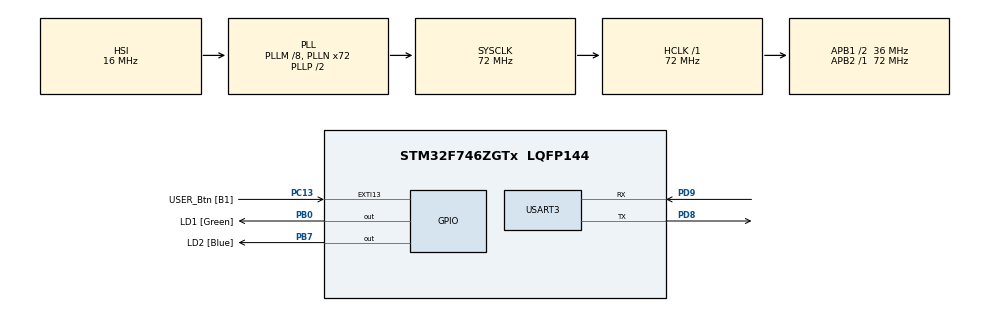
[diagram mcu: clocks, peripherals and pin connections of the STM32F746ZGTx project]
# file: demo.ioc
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CORTEX_M7.default_mode_Activation=1
Dma.Request0=USART3_TX
Dma.Request1=USART3_RX
Dma.USART3_RX.1.Direction=DMA_PERIPH_TO_MEMORY
Dma.USART3_RX.1.FIFOMode=DMA_FIFOMODE_ENABLE
Dma.USART3_RX.1.FIFOThreshold=DMA_FIFO_THRESHOLD_FULL
Dma.USART3_RX.1.Instance=DMA1_Stream1
Dma.USART3_RX.1.MemBurst=DMA_MBURST_SINGLE
Dma.USART3_RX.1.MemDataAlignment=DMA_MDATAALIGN_BYTE
Dma.USART3_RX.1.MemInc=DMA_MINC_ENABLE
Dma.USART3_RX.1.Mode=DMA_NORMAL
Dma.USART3_RX.1.PeriphBurst=DMA_PBURST_SINGLE
Dma.USART3_RX.1.PeriphDataAlignment=DMA_PDATAALIGN_BYTE
Dma.USART3_RX.1.PeriphInc=DMA_PINC_DISABLE
Dma.USART3_RX.1.Priority=DMA_PRIORITY_LOW
Dma.USART3_TX.0.Direction=DMA_MEMORY_TO_PERIPH
Dma.USART3_TX.0.FIFOMode=DMA_FIFOMODE_ENABLE
Dma.USART3_TX.0.FIFOThreshold=DMA_FIFO_THRESHOLD_FULL
Dma.USART3_TX.0.Instance=DMA1_Stream3
Dma.USART3_TX.0.MemBurst=DMA_MBURST_SINGLE
Dma.USART3_TX.0.MemDataAlignment=DMA_MDATAALIGN_BYTE
Dma.USART3_TX.0.MemInc=DMA_MINC_ENABLE
Dma.USART3_TX.0.Mode=DMA_NORMAL
Dma.USART3_TX.0.PeriphBurst=DMA_PBURST_SINGLE
Dma.USART3_TX.0.PeriphDataAlignment=DMA_PDATAALIGN_BYTE
Dma.USART3_TX.0.PeriphInc=DMA_PINC_DISABLE
Dma.USART3_TX.0.Priority=DMA_PRIORITY_LOW
Mcu.Family=STM32F7
Mcu.Name=STM32F746ZGTx
Mcu.Package=LQFP144
NVIC.DMA1_Stream1_IRQn=true\:0\:0\:false\:false\:true\:false\:true\:true
NVIC.DMA1_Stream3_IRQn=true\:0\:0\:false\:false\:true\:false\:true\:true
NVIC.EXTI15_10_IRQn=true\:0\:0\:false\:false\:true\:true\:true\:true
NVIC.PriorityGroup=NVIC_PRIORITYGROUP_4
NVIC.USART3_IRQn=true\:0\:0\:false\:false\:true\:true\:true\:true
PB0.GPIO_Label=LD1 [Green]
PB0.Signal=GPIO_Output
PB7.GPIO_Label=LD2 [Blue]
PB7.Signal=GPIO_Output
PC13.GPIO_Label=USER_Btn [B1]
PC13.Signal=GPXTI13
PC14/OSC32_IN.Mode=LSE-External-Oscillator
PC14/OSC32_IN.Signal=RCC_OSC32_IN
PC15/OSC32_OUT.Mode=LSE-External-Oscillator
PC15/OSC32_OUT.Signal=RCC_OSC32_OUT
PD8.Mode=Asynchronous
PD8.Signal=USART3_TX
PD9.Mode=Asynchronous
PD9.Signal=USART3_RX
ProjectManager.HeapSize=0x200
ProjectManager.StackSize=0x400
ProjectManager.TargetToolchain=STM32CubeIDE
RCC.48MHZClocksFreq_Value=24000000
RCC.AHBFreq_Value=72000000
RCC.APB1CLKDivider=RCC_HCLK_DIV2
RCC.APB1Freq_Value=36000000
RCC.APB1TimFreq_Value=72000000
RCC.APB2Freq_Value=72000000
RCC.APB2TimFreq_Value=72000000
RCC.CortexFreq_Value=72000000
RCC.HCLKFreq_Value=72000000
RCC.HSE_VALUE=8000000
RCC.HSI_VALUE=16000000
RCC.PLLM=8
RCC.PLLMUL=RCC_PLL_MUL9
RCC.PLLN=72
RCC.PLLQ=3
RCC.PRESCALERUSB=RCC_USBCLKSOURCE_PLL_DIV1_5
RCC.SYSCLKFreq_VALUE=72000000
RCC.SYSCLKSource=RCC_SYSCLKSOURCE_PLLCLK
RCC.SYSCLKSourceVirtual=RCC_SYSCLKSOURCE_PLLCLK
RCC.USBFreq_Value=48000000
RCC.VCOOutputFreq_Value=144000000
USART3.VirtualMode-Asynchronous=VM_ASYNC
board=NUCLEO-F746ZG

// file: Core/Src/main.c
/* USER CODE BEGIN Header */
/* USER CODE END Header */
#include "main.h"
#include "dma.h"
#include "usart.h"
#include "gpio.h"

extern DMA_HandleTypeDef hdma_usart3_tx;

/* USER CODE BEGIN PV */

/* Command Buffer - SIMPLIFIED */
#define CMD_BUFFER_SIZE  32
volatile char cmd_buffer[CMD_BUFFER_SIZE];
volatile uint8_t cmd_index = 0;
volatile uint8_t cmd_ready = 0;

/* LED State */
volatile uint8_t led_state = 0;

/* BUTTON DEBOUNCE */
volatile uint32_t last_button_time = 0;
#define BUTTON_DEBOUNCE_DELAY  200

/* USER CODE END PV */

void SystemClock_Config(void);
static void MPU_Config(void);

/* USER CODE BEGIN 0 */

/* UART Receive Interrupt - FIXED & DEBUGGED */
void HAL_UART_RxCpltCallback(UART_HandleTypeDef *huart)
{
  if (huart->Instance == USART3)
  {
    char rx_char = cmd_buffer[cmd_index];

    // **ECHO CHARACTER BACK** - So you can see what you type!
    HAL_UART_Transmit(&huart3, (uint8_t*)&rx_char, 1, 10);

    // Check for Enter key (Carriage Return)
    if (rx_char == '\r')
    {
      cmd_buffer[cmd_index] = '\0';  // Null-terminate string
      cmd_ready = 1;                 // Mark command ready
      Send_String("\r\n");           // New line
    }
    // Backspace handling
    else if (rx_char == '\b' || rx_char == 127)
    {
      if (cmd_index > 0)
      {
        cmd_index--;
        Send_String("\b \b");  // Erase character on screen
      }
    }
    // Normal character
    else if (cmd_index < CMD_BUFFER_SIZE - 1)
    {
      cmd_index++;
    }

    // **RESTART RECEIVE** for next character
    UART_Restart_Receive();
  }
}

/* Button Interrupt */
void HAL_GPIO_EXTI_Callback(uint16_t GPIO_Pin)
{
  if (GPIO_Pin == USER_Btn_Pin)
  {

	  uint32_t current_time = HAL_GetTick();  // Get current time in ms

	  // ** DEBOUNCE LOGIC: Ignore interrupts within 200ms **
	      if (current_time - last_button_time > BUTTON_DEBOUNCE_DELAY)
	      {
	        // Valid button press - process it
	        led_state = !led_state;
	        HAL_GPIO_WritePin(LD1_GPIO_Port, LD1_Pin, led_state);
	        Send_Status();

	        // Update last press time
	        last_button_time = current_time;
	      }

	      // Else: Ignore this interrupt (it's a bounce)

	          // ** CRITICAL: Clear interrupt flag **
	          __HAL_GPIO_EXTI_CLEAR_IT(USER_Btn_Pin);

  }
}

/* DMA TX Transfer Complete Callback */
void HAL_UART_TxCpltCallback(UART_HandleTypeDef *huart)
{
  if (huart->Instance == USART3)
  {
    // Optional: Can add code here to signal TX complete
    // Not needed for this application
  }
}

/* DMA1 Stream3 Interrupt Handler */
void DMA1_Stream3_IRQHandler(void)
{
  HAL_DMA_IRQHandler(&hdma_usart3_tx);
}

/* Send string using DMA (NON-BLOCKING!) */
void Send_String(const char* str)
{
  // Wait if UART is busy with previous DMA transfer
  while (huart3.gState != HAL_UART_STATE_READY);

  // Start DMA transmission - returns immediately!
  HAL_UART_Transmit_DMA(&huart3, (uint8_t*)str, strlen(str));
}

/* Send LED status */
void Send_Status(void)
{
  char status_msg[64];
  sprintf(status_msg, "\r\n[STATUS] LED is %s\r\n> ", led_state ? "ON" : "OFF");
  Send_String(status_msg);
}

/* Restart UART receive */
void UART_Restart_Receive(void)
{
  HAL_UART_Receive_IT(&huart3, (uint8_t*)&cmd_buffer[cmd_index], 1);
}

/* Process command */
void Process_Command(void)
{
  char cmd[32];
  strcpy(cmd, (char*)cmd_buffer);  // Copy command

  // Convert to uppercase
  for(int i = 0; cmd[i]; i++) {
    cmd[i] = toupper(cmd[i]);
  }

  if (strcmp(cmd, "ON") == 0)
  {
    led_state = 1;
    HAL_GPIO_WritePin(LD1_GPIO_Port, LD1_Pin, led_state);
    Send_String("LED turned ON\r\n> ");
  }
  else if (strcmp(cmd, "OFF") == 0)
  {
    led_state = 0;
    HAL_GPIO_WritePin(LD1_GPIO_Port, LD1_Pin, led_state);
    Send_String("LED turned OFF\r\n> ");
  }
  else if (strcmp(cmd, "STATUS") == 0)
  {
    Send_Status();
  }
  else if (strcmp(cmd, "HELP") == 0)
  {
    Send_String("\r\n--- Commands ---\r\n");
    Send_String("ON     : Turn LED ON\r\n");
    Send_String("OFF    : Turn LED OFF\r\n");
    Send_String("STATUS : Show LED status\r\n");
    Send_String("HELP   : Show this help\r\n");
    Send_String("Press USER button to toggle LED\r\n> ");
  }
  else if (strlen(cmd) > 0)
  {
    Send_String("Unknown: ");
    Send_String(cmd);
    Send_String("\r\nType HELP for commands\r\n> ");
  }

  // Reset buffer
  cmd_index = 0;
  cmd_ready = 0;
}

/* USER CODE END 0 */

int main(void)
{

  /* MPU Configuration--------------------------------------------------------*/
  MPU_Config();

  /* MCU Configuration--------------------------------------------------------*/

  /* Reset of all peripherals, Initializes the Flash interface and the Systick. */
  HAL_Init();

  /* Configure the system clock */
  SystemClock_Config();

  /* Initialize all configured peripherals */
  MX_GPIO_Init();
  MX_DMA_Init();
  MX_USART3_UART_Init();
  /* USER CODE BEGIN 2 */

  // ** CRITICAL: Start UART receive interrupt **
  UART_Restart_Receive();

  // Send welcome message
  Send_String("\r\n\r\n========================================\r\n");
  Send_String("  Nucleo-F746ZG Control System\r\n");
  Send_String("========================================\r\n");
  Send_String("Type HELP and press ENTER\r\n> ");
  Send_String("Button debounce: 200ms\r\n");
  Send_String("DMA: Enabled for TX\r\n> ");

  // Flash LED to show system is alive
  HAL_GPIO_WritePin(LD1_GPIO_Port, LD1_Pin, GPIO_PIN_SET);
  HAL_Delay(200);
  HAL_GPIO_WritePin(LD1_GPIO_Port, LD1_Pin, GPIO_PIN_RESET);

  /* USER CODE END 2 */

  /* Infinite loop */
  while (1)
  {
	  // Process UART commands
	      if (cmd_ready)
	      {
	        Process_Command();
	      }

	      // CPU can sleep - DMA handles UART in background!
	      __WFI();
  }
}

void SystemClock_Config(void)
{
  RCC_OscInitTypeDef RCC_OscInitStruct = {0};
  RCC_ClkInitTypeDef RCC_ClkInitStruct = {0};

  /** Configure LSE Drive Capability
  */
  HAL_PWR_EnableBkUpAccess();

  /** Configure the main internal regulator output voltage
  */
  __HAL_RCC_PWR_CLK_ENABLE();
  __HAL_PWR_VOLTAGESCALING_CONFIG(PWR_REGULATOR_VOLTAGE_SCALE3);

  /** Initializes the RCC Oscillators according to the specified parameters
  * in the RCC_OscInitTypeDef structure.
  */
  RCC_OscInitStruct.OscillatorType = RCC_OSCILLATORTYPE_HSI;
  RCC_OscInitStruct.HSIState = RCC_HSI_ON;
  RCC_OscInitStruct.HSICalibrationValue = RCC_HSICALIBRATION_DEFAULT;
  RCC_OscInitStruct.PLL.PLLState = RCC_PLL_ON;
  RCC_OscInitStruct.PLL.PLLSource = RCC_PLLSOURCE_HSI;
  RCC_OscInitStruct.PLL.PLLM = 8;
  RCC_OscInitStruct.PLL.PLLN = 72;
  RCC_OscInitStruct.PLL.PLLP = RCC_PLLP_DIV2;
  RCC_OscInitStruct.PLL.PLLQ = 3;
  if (HAL_RCC_OscConfig(&RCC_OscInitStruct) != HAL_OK)
  {
    Error_Handler();
  }

  /** Initializes the CPU, AHB and APB buses clocks
  */
  RCC_ClkInitStruct.ClockType = RCC_CLOCKTYPE_HCLK|RCC_CLOCKTYPE_SYSCLK
                              |RCC_CLOCKTYPE_PCLK1|RCC_CLOCKTYPE_PCLK2;
  RCC_ClkInitStruct.SYSCLKSource = RCC_SYSCLKSOURCE_PLLCLK;
  RCC_ClkInitStruct.AHBCLKDivider = RCC_SYSCLK_DIV1;
  RCC_ClkInitStruct.APB1CLKDivider = RCC_HCLK_DIV2;
  RCC_ClkInitStruct.APB2CLKDivider = RCC_HCLK_DIV1;

  if (HAL_RCC_ClockConfig(&RCC_ClkInitStruct, FLASH_LATENCY_2) != HAL_OK)
  {
    Error_Handler();
  }
}

 /* MPU Configuration */

void MPU_Config(void)
{
  MPU_Region_InitTypeDef MPU_InitStruct = {0};

  /* Disables the MPU */
  HAL_MPU_Disable();

  /** Initializes and configures the Region and the memory to be protected
  */
  MPU_InitStruct.Enable = MPU_REGION_ENABLE;
  MPU_InitStruct.Number = MPU_REGION_NUMBER0;
  MPU_InitStruct.BaseAddress = 0x0;
  MPU_InitStruct.Size = MPU_REGION_SIZE_4GB;
  MPU_InitStruct.SubRegionDisable = 0x87;
  MPU_InitStruct.TypeExtField = MPU_TEX_LEVEL0;
  MPU_InitStruct.AccessPermission = MPU_REGION_NO_ACCESS;
  MPU_InitStruct.DisableExec = MPU_INSTRUCTION_ACCESS_DISABLE;
  MPU_InitStruct.IsShareable = MPU_ACCESS_SHAREABLE;
  MPU_InitStruct.IsCacheable = MPU_ACCESS_NOT_CACHEABLE;
  MPU_InitStruct.IsBufferable = MPU_ACCESS_NOT_BUFFERABLE;

  HAL_MPU_ConfigRegion(&MPU_InitStruct);
  /* Enables the MPU */
  HAL_MPU_Enable(MPU_PRIVILEGED_DEFAULT);

}

void Error_Handler(void)
{
  /* USER CODE BEGIN Error_Handler_Debug */
  __disable_irq();
  while (1)
  {
    // Blink LED fast to indicate error
    HAL_GPIO_TogglePin(LD1_GPIO_Port, LD1_Pin);
    HAL_Delay(100);
  }
  /* USER CODE END Error_Handler_Debug */
}
